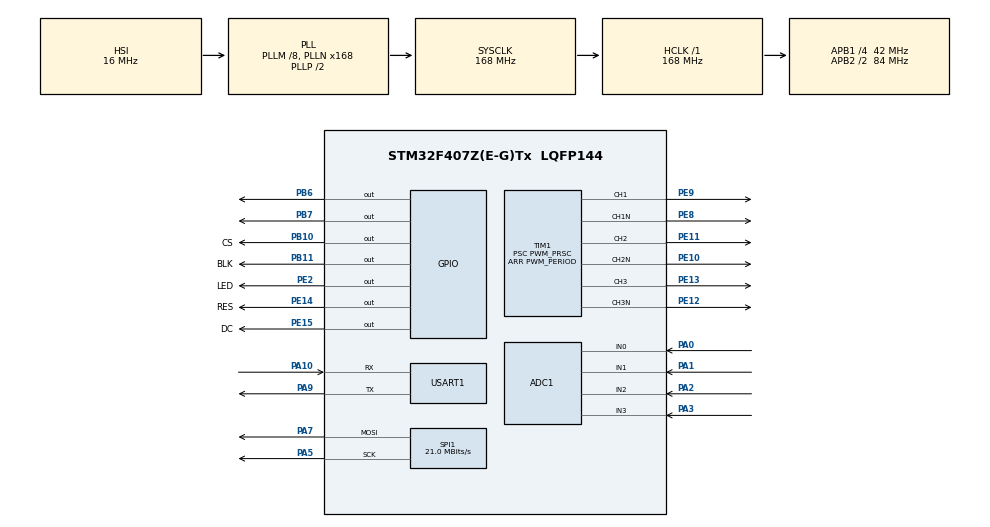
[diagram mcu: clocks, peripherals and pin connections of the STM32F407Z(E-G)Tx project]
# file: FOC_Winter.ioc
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ADC1.Channel-0\#ChannelRegularConversion=ADC_CHANNEL_3
ADC1.Channel-1\#ChannelInjectedConversion=ADC_CHANNEL_0
ADC1.Channel-2\#ChannelInjectedConversion=ADC_CHANNEL_1
ADC1.Channel-3\#ChannelInjectedConversion=ADC_CHANNEL_2
ADC1.ContinuousConvMode=ENABLE
ADC1.ExternalTrigInjecConv=ADC_EXTERNALTRIGINJECCONV_T1_CC4
ADC1.InjNumberOfConversion=3
ADC1.InjectedOffset-1\#ChannelInjectedConversion=0
ADC1.InjectedOffset-2\#ChannelInjectedConversion=0
ADC1.InjectedOffset-3\#ChannelInjectedConversion=0
ADC1.InjectedRank-1\#ChannelInjectedConversion=1
ADC1.InjectedRank-2\#ChannelInjectedConversion=2
ADC1.InjectedRank-3\#ChannelInjectedConversion=3
ADC1.NbrOfConversionFlag=1
ADC1.Rank-0\#ChannelRegularConversion=1
ADC1.SamplingTime-0\#ChannelRegularConversion=ADC_SAMPLETIME_28CYCLES
ADC1.SamplingTime-1\#ChannelInjectedConversion=ADC_SAMPLETIME_3CYCLES
ADC1.SamplingTime-2\#ChannelInjectedConversion=ADC_SAMPLETIME_3CYCLES
ADC1.SamplingTime-3\#ChannelInjectedConversion=ADC_SAMPLETIME_3CYCLES
ADC1.ScanConvMode=ENABLE
ADC1.master=1
Dma.ADC1.2.Direction=DMA_PERIPH_TO_MEMORY
Dma.ADC1.2.FIFOMode=DMA_FIFOMODE_DISABLE
Dma.ADC1.2.Instance=DMA2_Stream0
Dma.ADC1.2.MemDataAlignment=DMA_MDATAALIGN_HALFWORD
Dma.ADC1.2.MemInc=DMA_MINC_ENABLE
Dma.ADC1.2.Mode=DMA_CIRCULAR
Dma.ADC1.2.PeriphDataAlignment=DMA_PDATAALIGN_HALFWORD
Dma.ADC1.2.PeriphInc=DMA_PINC_DISABLE
Dma.ADC1.2.Priority=DMA_PRIORITY_LOW
Dma.Request0=USART1_RX
Dma.Request1=USART1_TX
Dma.Request2=ADC1
Dma.USART1_RX.0.Direction=DMA_PERIPH_TO_MEMORY
Dma.USART1_RX.0.FIFOMode=DMA_FIFOMODE_DISABLE
Dma.USART1_RX.0.Instance=DMA2_Stream2
Dma.USART1_RX.0.MemDataAlignment=DMA_MDATAALIGN_BYTE
Dma.USART1_RX.0.MemInc=DMA_MINC_ENABLE
Dma.USART1_RX.0.Mode=DMA_NORMAL
Dma.USART1_RX.0.PeriphDataAlignment=DMA_PDATAALIGN_BYTE
Dma.USART1_RX.0.PeriphInc=DMA_PINC_DISABLE
Dma.USART1_RX.0.Priority=DMA_PRIORITY_LOW
Dma.USART1_TX.1.Direction=DMA_MEMORY_TO_PERIPH
Dma.USART1_TX.1.FIFOMode=DMA_FIFOMODE_DISABLE
Dma.USART1_TX.1.Instance=DMA2_Stream7
Dma.USART1_TX.1.MemDataAlignment=DMA_MDATAALIGN_BYTE
Dma.USART1_TX.1.MemInc=DMA_MINC_ENABLE
Dma.USART1_TX.1.Mode=DMA_NORMAL
Dma.USART1_TX.1.PeriphDataAlignment=DMA_PDATAALIGN_BYTE
Dma.USART1_TX.1.PeriphInc=DMA_PINC_DISABLE
Dma.USART1_TX.1.Priority=DMA_PRIORITY_LOW
Mcu.Family=STM32F4
Mcu.Name=STM32F407Z(E-G)Tx
Mcu.Package=LQFP144
Mcu.UserConstants=CKTIM,168000000;PWM_PRSC,0;PWM_FREQ,25000;PWM_PERIOD,CKTIM/(2*PWM_FREQ*(PWM_PRSC+1));DEADTIME_NS,1000;DEADTIME,CKTIM/1000000/2*DEADTIME_NS/1000
NVIC.ADC_IRQn=true\:0\:0\:false\:false\:true\:true\:true\:true
NVIC.DMA2_Stream0_IRQn=true\:0\:0\:true\:false\:true\:false\:true\:true
NVIC.DMA2_Stream2_IRQn=true\:1\:0\:true\:false\:true\:false\:true\:true
NVIC.DMA2_Stream7_IRQn=true\:1\:0\:true\:false\:true\:false\:true\:true
NVIC.PriorityGroup=NVIC_PRIORITYGROUP_4
NVIC.TIM2_IRQn=true\:0\:0\:false\:false\:true\:true\:true\:true
NVIC.TIM3_IRQn=true\:0\:0\:true\:false\:true\:true\:true\:true
NVIC.USART1_IRQn=true\:0\:0\:true\:false\:true\:true\:true\:true
PA0-WKUP.Signal=ADCx_IN0
PA1.Signal=ADCx_IN1
PA10.Mode=Asynchronous
PA10.Signal=USART1_RX
PA13.Mode=Serial_Wire
PA13.Signal=SYS_JTMS-SWDIO
PA14.Mode=Serial_Wire
PA14.Signal=SYS_JTCK-SWCLK
PA2.Signal=ADCx_IN2
PA3.Signal=ADCx_IN3
PA5.Mode=TX_Only_Simplex_Unidirect_Master
PA5.Signal=SPI1_SCK
PA7.Mode=TX_Only_Simplex_Unidirect_Master
PA7.Signal=SPI1_MOSI
PA9.Mode=Asynchronous
PA9.Signal=USART1_TX
PB10.GPIO_Label=CS
PB10.Signal=GPIO_Output
PB11.GPIO_Label=BLK
PB11.Signal=GPIO_Output
PB6.GPIO_PuPd=GPIO_PULLUP
PB6.GPIO_Speed=GPIO_SPEED_FREQ_VERY_HIGH
PB6.Signal=GPIO_Output
PB7.GPIO_PuPd=GPIO_PULLUP
PB7.GPIO_Speed=GPIO_SPEED_FREQ_VERY_HIGH
PB7.Signal=GPIO_Output
PC14-OSC32_IN.Mode=LSE-External-Oscillator
PC14-OSC32_IN.Signal=RCC_OSC32_IN
PC15-OSC32_OUT.Mode=LSE-External-Oscillator
PC15-OSC32_OUT.Signal=RCC_OSC32_OUT
PE10.Mode=PWM Generation2 CH2 CH2N
PE10.Signal=TIM1_CH2N
PE11.Signal=S_TIM1_CH2
PE12.Mode=PWM Generation3 CH3 CH3N
PE12.Signal=TIM1_CH3N
PE13.Signal=S_TIM1_CH3
PE14.GPIO_Label=RES
PE14.Signal=GPIO_Output
PE15.GPIO_Label=DC
PE15.Signal=GPIO_Output
PE2.GPIO_Label=LED
PE2.Signal=GPIO_Output
PE8.Mode=PWM Generation1 CH1 CH1N
PE8.Signal=TIM1_CH1N
PE9.Signal=S_TIM1_CH1
PH0-OSC_IN.Mode=HSE-External-Oscillator
PH0-OSC_IN.Signal=RCC_OSC_IN
PH1-OSC_OUT.Mode=HSE-External-Oscillator
PH1-OSC_OUT.Signal=RCC_OSC_OUT
ProjectManager.HeapSize=0x200
ProjectManager.StackSize=0x400
ProjectManager.TargetToolchain=MDK-ARM V5.32
RCC.48MHZClocksFreq_Value=84000000
RCC.AHBFreq_Value=168000000
RCC.APB1CLKDivider=RCC_HCLK_DIV4
RCC.APB1Freq_Value=42000000
RCC.APB1TimFreq_Value=84000000
RCC.APB2CLKDivider=RCC_HCLK_DIV2
RCC.APB2Freq_Value=84000000
RCC.APB2TimFreq_Value=168000000
RCC.CortexFreq_Value=168000000
RCC.HCLKFreq_Value=168000000
RCC.HSE_VALUE=25000000
RCC.HSI_VALUE=16000000
RCC.PLLM=8
RCC.PLLN=168
RCC.SYSCLKFreq_VALUE=168000000
RCC.SYSCLKSource=RCC_SYSCLKSOURCE_PLLCLK
RCC.VCOOutputFreq_Value=336000000
SH.ADCx_IN0.0=ADC1_IN0,IN0
SH.ADCx_IN1.0=ADC1_IN1,IN1
SH.ADCx_IN2.0=ADC1_IN2,IN2
SH.ADCx_IN3.0=ADC1_IN3,IN3
SH.S_TIM1_CH1.0=TIM1_CH1,PWM Generation1 CH1 CH1N
SH.S_TIM1_CH2.0=TIM1_CH2,PWM Generation2 CH2 CH2N
SH.S_TIM1_CH3.0=TIM1_CH3,PWM Generation3 CH3 CH3N
SPI1.BaudRatePrescaler=SPI_BAUDRATEPRESCALER_4
SPI1.CLKPhase=SPI_PHASE_2EDGE
SPI1.CLKPolarity=SPI_POLARITY_HIGH
SPI1.CalculateBaudRate=21.0 MBits/s
SPI1.Direction=SPI_DIRECTION_2LINES
SPI1.Mode=SPI_MODE_MASTER
SPI1.VirtualType=VM_MASTER
TIM1.Channel-PWM\ Generation1\ CH1\ CH1N=TIM_CHANNEL_1
TIM1.Channel-PWM\ Generation2\ CH2\ CH2N=TIM_CHANNEL_2
TIM1.Channel-PWM\ Generation3\ CH3\ CH3N=TIM_CHANNEL_3
TIM1.Channel-PWM\ Generation4\ No\ Output=TIM_CHANNEL_4
TIM1.CounterMode=TIM_COUNTERMODE_CENTERALIGNED1
TIM1.DeadTime=DEADTIME
TIM1.LockLevel=TIM_LOCKLEVEL_1
TIM1.OCMode_PWM-PWM\ Generation4\ No\ Output=TIM_OCMODE_PWM2
TIM1.OffStateIDLEMode=TIM_OSSI_ENABLE
TIM1.OffStateRunMode=TIM_OSSR_ENABLE
TIM1.Period=PWM_PERIOD
TIM1.Prescaler=PWM_PRSC
TIM1.TIM_MasterOutputTrigger=TIM_TRGO_OC4REF
TIM2.Period=1300-1
TIM2.Prescaler=84-1
TIM3.Period=1200-1
TIM3.Prescaler=84-1
USART1.VirtualMode=VM_ASYNC
VP_TIM1_VS_no_output4.Mode=PWM Generation4 No Output
VP_TIM2_VS_ClockSourceINT.Mode=Internal
VP_TIM3_VS_ClockSourceINT.Mode=Internal
board=custom

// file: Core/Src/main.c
/* USER CODE BEGIN Header */
/**
  ******************************************************************************
  * @file           : main.c
  * @brief          : Main program body
  ******************************************************************************
  * @attention
  *
  * Copyright (c) 2023 STMicroelectronics.
  * All rights reserved.
  *
  * This software is licensed under terms that can be found in the LICENSE file
  * in the root directory of this software component.
  * If no LICENSE file comes with this software, it is provided AS-IS.
  *
  ******************************************************************************
  */
/* USER CODE END Header */
#include "main.h"
#include "adc.h"
#include "dma.h"
#include "spi.h"
#include "tim.h"
#include "usart.h"
#include "gpio.h"

/* USER CODE BEGIN Includes */
#include "arm_math.h"
#include "Usrt.h"
#include "delay_JR.h"
#include "lcd_init.h"
#include "lcd.h"
#include "pic.h"
#include "GUI.h"

#include "Base_Motor_Control.h"
#include "InlineCurrentSense.h"
#include "Inline_ADC.h"
#include "FOC_Motor.h"
/* USER CODE END Includes */

/* USER CODE BEGIN PD */
#define ADC_Reg_Buffer 1
#define ADC_REF_V                   (float)(3.3f)
#define R_HIGH  20.0F
#define R_LOW		1.0F
#define SAMPLE_VOL_CON_FACTOR 	 ADC_REF_V /4095.0F / (R_LOW/(R_LOW+R_HIGH))
/* USER CODE END PD */

/* USER CODE BEGIN PV */
float Target = 0;
char Mode = 0;
uint16_t angle_Row;
float angle,vel;

//uint16_t ADC_Reg_Value[ADC_Reg_Buffer] = {0};
float ADC_Reg_Value;
/* USER CODE END PV */

void SystemClock_Config(void);

int main(void)
{

  /* MCU Configuration--------------------------------------------------------*/

  /* Reset of all peripherals, Initializes the Flash interface and the Systick. */
  HAL_Init();

  /* Configure the system clock */
  SystemClock_Config();

  /* Initialize all configured peripherals */
  MX_GPIO_Init();
  MX_DMA_Init();
  MX_TIM1_Init();
  MX_USART1_UART_Init();
  MX_ADC1_Init();
  MX_SPI1_Init();
  MX_TIM3_Init();
  MX_TIM2_Init();
  /* USER CODE BEGIN 2 */
  delay_init(168);
  HAL_TIM_PWM_Start(&htim1,TIM_CHANNEL_1);
  HAL_TIM_PWM_Start(&htim1,TIM_CHANNEL_2);
  HAL_TIM_PWM_Start(&htim1,TIM_CHANNEL_3);
  HAL_TIM_PWM_Start(&htim1,TIM_CHANNEL_4);
  HAL_TIMEx_PWMN_Start(&htim1,TIM_CHANNEL_1);
  HAL_TIMEx_PWMN_Start(&htim1,TIM_CHANNEL_2);
  HAL_TIMEx_PWMN_Start(&htim1,TIM_CHANNEL_3);
  __HAL_TIM_SET_COMPARE(&htim1, TIM_CHANNEL_4,PWM_PERIOD-50);

  AS5600_lnit();             //编码器初始化
  Read_InlineCurrentSense(0.01,50,Channel_0,Channel_1,Channel_2);                //设定采样电阻的阻值，运放倍数，ABC�?
  InlineCurrentSense_Init();                                                    //ADC初始化和偏置电压校准
  LPF_init();
  PID_init();
  Base_parameter_init();
   Controller = Type_torque;
  PID_Current_d.P=0.6;
	PID_Current_d.I=0;
	PID_Current_q.P=0.6;
	PID_Current_q.I=0;
	PID_Velocity.P=0.55;
	PID_Velocity.I=5;
	PID_Angle.P=20;              //位置环参数，只需P参数
	PID_Velocity.output_ramp=0;
	LPF_velocity.Tf=0.01;      //Tf设置小一点，配合爬升斜率设置，�?�度切换更平稳；如果没有爬升模式的斜率限制，Tf太小电机容易抖动

  Motor_Init();
  Motor_FOC_Init(0,UNKNOWN);
  printf("Motor ready.\r\n");

  __HAL_UART_ENABLE_IT(&huart1,UART_IT_IDLE);       //打开IDLE中断
  HAL_UART_Receive_DMA(&huart1,rx1_buffer,BUFFER_SIZE);    //�?启DMA接受

  LCD_Init();//LCD初始
  LCD_Fill(0,0,LCD_W,LCD_H,LGRAY);

//  HAL_TIM_Base_Start_IT(&htim3);
  HAL_TIM_Base_Start_IT(&htim3);
  /* USER CODE END 2 */

  /* Infinite loop */
  /* USER CODE BEGIN WHILE */
  while (1)
  {
//	  angle_Row = AS5600_ReadTwoByte(_raw_ang_hi, _raw_ang_lo);
////	  angle_Row = AS5600_Get_Raw_Angle();
//	  angle = AS5600_Get_Angle();
//	  vel = Get_Velocity();
//	  printf("angle_raw = %d,angle = %f,vel = %f\r\n",angle_Row,angle,vel);

	if(rec1_end_flag)
	{
		Usart1_Handle();
	}
//	Move(Target);
//	LoopFOC();
	GUI_display();
//	  HAL_GPIO_WritePin(GPIOE,GPIO_PIN_2,GPIO_PIN_SET);
//	  HAL_Delay(500);
//	  HAL_GPIO_WritePin(GPIOE,GPIO_PIN_2,GPIO_PIN_RESET);
//	  HAL_Delay(500);
    /* USER CODE END WHILE */

  }
}

void SystemClock_Config(void)
{
  RCC_OscInitTypeDef RCC_OscInitStruct = {0};
  RCC_ClkInitTypeDef RCC_ClkInitStruct = {0};

  /** Configure the main internal regulator output voltage
  */
  __HAL_RCC_PWR_CLK_ENABLE();
  __HAL_PWR_VOLTAGESCALING_CONFIG(PWR_REGULATOR_VOLTAGE_SCALE1);

  /** Initializes the RCC Oscillators according to the specified parameters
  * in the RCC_OscInitTypeDef structure.
  */
  RCC_OscInitStruct.OscillatorType = RCC_OSCILLATORTYPE_HSI;
  RCC_OscInitStruct.HSIState = RCC_HSI_ON;
  RCC_OscInitStruct.HSICalibrationValue = RCC_HSICALIBRATION_DEFAULT;
  RCC_OscInitStruct.PLL.PLLState = RCC_PLL_ON;
  RCC_OscInitStruct.PLL.PLLSource = RCC_PLLSOURCE_HSI;
  RCC_OscInitStruct.PLL.PLLM = 8;
  RCC_OscInitStruct.PLL.PLLN = 168;
  RCC_OscInitStruct.PLL.PLLP = RCC_PLLP_DIV2;
  RCC_OscInitStruct.PLL.PLLQ = 4;
  if (HAL_RCC_OscConfig(&RCC_OscInitStruct) != HAL_OK)
  {
    Error_Handler();
  }

  /** Initializes the CPU, AHB and APB buses clocks
  */
  RCC_ClkInitStruct.ClockType = RCC_CLOCKTYPE_HCLK|RCC_CLOCKTYPE_SYSCLK
                              |RCC_CLOCKTYPE_PCLK1|RCC_CLOCKTYPE_PCLK2;
  RCC_ClkInitStruct.SYSCLKSource = RCC_SYSCLKSOURCE_PLLCLK;
  RCC_ClkInitStruct.AHBCLKDivider = RCC_SYSCLK_DIV1;
  RCC_ClkInitStruct.APB1CLKDivider = RCC_HCLK_DIV4;
  RCC_ClkInitStruct.APB2CLKDivider = RCC_HCLK_DIV2;

  if (HAL_RCC_ClockConfig(&RCC_ClkInitStruct, FLASH_LATENCY_5) != HAL_OK)
  {
    Error_Handler();
  }
}

/* USER CODE BEGIN 4 */
void HAL_TIM_PeriodElapsedCallback(TIM_HandleTypeDef *htim)
{
	if(htim->Instance == TIM2)
    {
//		if(rec1_end_flag)
//	{
//		Usart1_Handle();
//	}
	Move(Target);
	LoopFOC();
	}
    if(htim->Instance == TIM3)
    {
//		if(rec1_end_flag)
//	{
//		Usart1_Handle();
//	}
	HAL_ADC_Start(&hadc1);
	ADC_Reg_Value = HAL_ADC_GetValue(&hadc1);
	ADC_Reg_Value = ADC_Reg_Value * SAMPLE_VOL_CON_FACTOR;
	Move(Target);
	LoopFOC();
	}
}
/* USER CODE END 4 */

void Error_Handler(void)
{
  __disable_irq();
  while (1)
  {
  }
}
